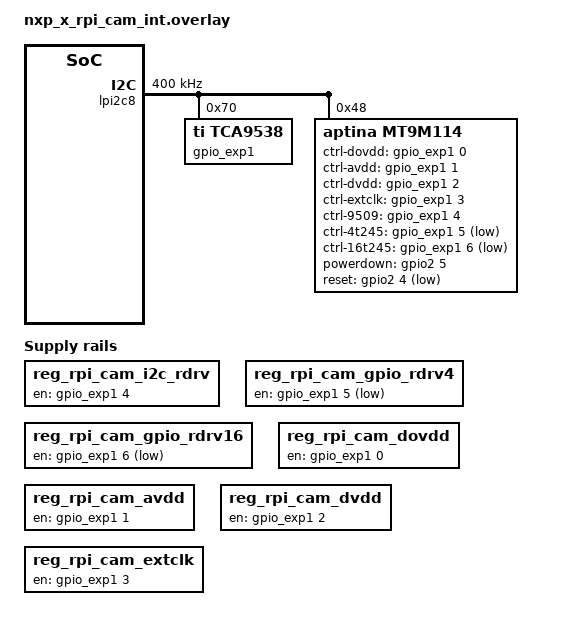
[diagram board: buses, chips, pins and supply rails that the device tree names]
/*
 * Copyright 2023 NXP
 *
 * SPDX-License-Identifier: Apache-2.0
 */

/ {

	//x_rpi_cam_int_power_seq: x_rpi_cam_int_power_seq {
	//	compatible = "regulator-fixed-seq";
	//	regulator-name = "mt9m114_power_seq";
	//	enable-gpios = <&gpio_exp1 0 GPIO_ACTIVE_HIGH>, // 0, DOVDD
	//				   <&gpio_exp1 1 GPIO_ACTIVE_HIGH>, // 1, AVDD
	//				   <&gpio_exp1 2 GPIO_ACTIVE_HIGH>, // 2, DVDD
	//				   <&gpio_exp1 3 GPIO_ACTIVE_HIGH>, // 3, EXTCLK
	//	enable-gpio-names = "DOVDD",
	//						"AVDD",
	//						"DVDD",
	//						"EXTCLK",
	//	enable-seq = <0 1 2 3>;
	//	enable-delay = <100 100 500 50000>;
	//	disable-seq = <3 2 1 0>;
	//	disable-delay = <1000 500 100 0>;
	//	status = "okay";
	//};

	reg_rpi_cam_i2c_rdrv: reg_rpi_cam_i2c_rdrv {
		compatible = "regulator-fixed";
		regulator-name = "reg_rpi_cam_i2c_rdrv";
		enable-gpios = <&gpio_exp1 4 GPIO_ACTIVE_HIGH>;
		startup-delay-us = <0>;
		off-on-delay-us = <0>;
		regulator-boot-on;
      	regulator-always-on;
	};
	reg_rpi_cam_gpio_rdrv4: reg_rpi_cam_gpio_rdrv4 {
		compatible = "regulator-fixed";
		regulator-name = "reg_rpi_cam_gpio_rdrv4";
		enable-gpios = <&gpio_exp1 5 GPIO_ACTIVE_LOW>;
		startup-delay-us = <0>;
		off-on-delay-us = <0>;
		regulator-boot-on;
      	regulator-always-on;
	};
	reg_rpi_cam_gpio_rdrv16: reg_rpi_cam_gpio_rdrv16 {
		compatible = "regulator-fixed";
		regulator-name = "reg_rpi_cam_gpio_rdrv16";
		enable-gpios = <&gpio_exp1 6 GPIO_ACTIVE_LOW>;
		startup-delay-us = <0>;
		off-on-delay-us = <0>;
		regulator-boot-on;
      	regulator-always-on;
	};
	reg_rpi_cam_dovdd: reg_rpi_cam_dovdd {
		compatible = "regulator-fixed";
		regulator-name = "reg_rpi_cam_dovdd";
		enable-gpios = <&gpio_exp1 0 GPIO_ACTIVE_HIGH>;
		startup-delay-us = <1000>;
		off-on-delay-us = <1000>;
	};
	reg_rpi_cam_avdd: reg_rpi_cam_avdd {
		compatible = "regulator-fixed";
		regulator-name = "reg_rpi_cam_avdd";
		enable-gpios = <&gpio_exp1 1 GPIO_ACTIVE_HIGH>;
		startup-delay-us = <1000>;
		off-on-delay-us = <1000>;
	};
	reg_rpi_cam_dvdd: reg_rpi_cam_dvdd {
		compatible = "regulator-fixed";
		regulator-name = "reg_rpi_cam_dvdd";
		enable-gpios = <&gpio_exp1 2 GPIO_ACTIVE_HIGH>;
		startup-delay-us = <10000>;
		off-on-delay-us = <10000>;
	};
	reg_rpi_cam_extclk: reg_rpi_cam_extclk {
		compatible = "regulator-fixed";
		regulator-name = "reg_rpi_cam_extclk";
		enable-gpios = <&gpio_exp1 3 GPIO_ACTIVE_HIGH>;
		startup-delay-us = <10000>;
		off-on-delay-us = <10000>;
	};
};

&lpi2c8 {
	status = "okay";
	clock-frequency = <I2C_BITRATE_FAST>;
	pinctrl-0 = <&i2c8_default>;
	pinctrl-names = "default";

    gpio_exp1: tca9538@70 {
		compatible = "ti,tca9538";
		reg = <0x70>;
		gpio-controller;
		#gpio-cells = <2>;
		ngpios = <8>;
	};

	mt9m114: mt9m114@48 {
		compatible = "aptina,mt9m114";
		reg = <0x48>;
		pinctrl-0 = <&pinmux_parallel_csi>;
		pinctrl-names = "default";
		ctrl-dovdd-gpios = <&gpio_exp1 0 GPIO_ACTIVE_HIGH>;
		ctrl-avdd-gpios = <&gpio_exp1 1 GPIO_ACTIVE_HIGH>;
		ctrl-dvdd-gpios = <&gpio_exp1 2 GPIO_ACTIVE_HIGH>;
		ctrl-extclk-gpios = <&gpio_exp1 3 GPIO_ACTIVE_HIGH>;
		ctrl-9509-gpios = <&gpio_exp1 4 GPIO_ACTIVE_HIGH>;
		ctrl-4t245-gpios = <&gpio_exp1 5 GPIO_ACTIVE_LOW>;
		ctrl-16t245-gpios = <&gpio_exp1 6 GPIO_ACTIVE_LOW>;
		//regulator = <&x_rpi_cam_int_power_seq>;
		regulator = <&reg_rpi_cam_i2c_rdrv>,
					<&reg_rpi_cam_gpio_rdrv4>,
					<&reg_rpi_cam_gpio_rdrv16>,
					<&reg_rpi_cam_dovdd>,
					<&reg_rpi_cam_avdd>,
					<&reg_rpi_cam_dvdd>,
					<&reg_rpi_cam_extclk>;
		powerdown-gpios = <&gpio2 5 GPIO_ACTIVE_HIGH>;
		reset-gpios = <&gpio2 4 GPIO_ACTIVE_LOW>;
		status = "okay";
	};
};
